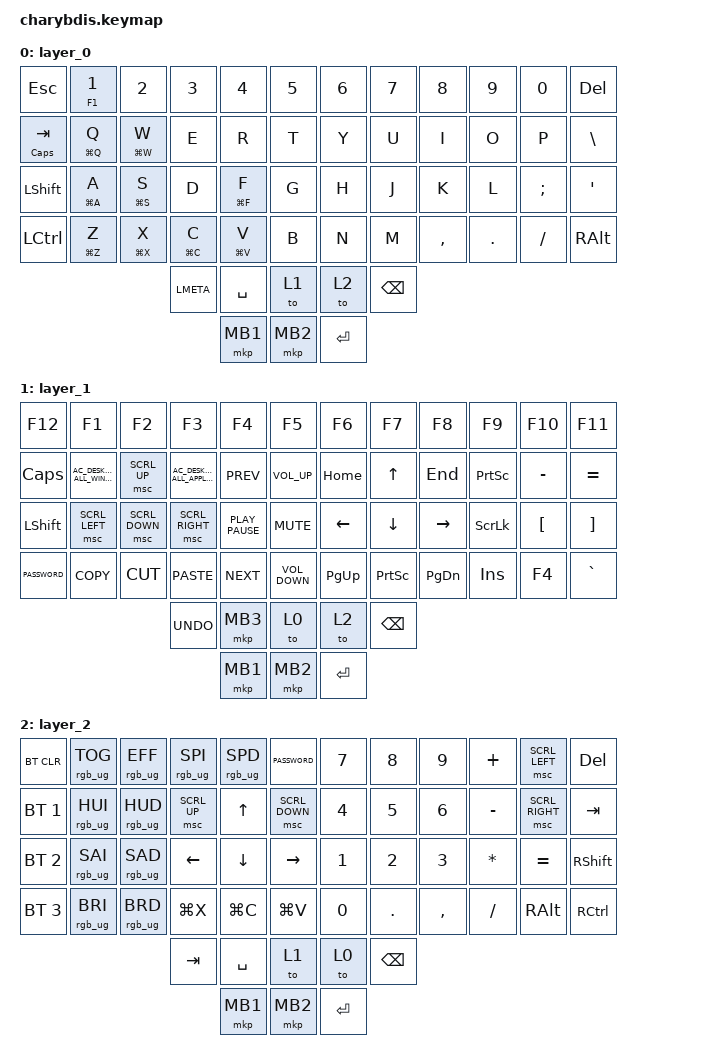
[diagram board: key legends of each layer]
#include <behaviors.dtsi>
#include <dt-bindings/zmk/bt.h>
#include <dt-bindings/zmk/keys.h>
#include <dt-bindings/zmk/pointing.h>
#include <dt-bindings/zmk/rgb.h>

&lt {
    tapping-term-ms = <200>;
    flavor = "balanced";
    quick-tap-ms = <150>;
};

/ {
    macros {
        To1_macro: To1_macro {
            compatible = "zmk,behavior-macro";
            label = "To1_macro";
            #binding-cells = <0>;
            bindings = <&rgb_ug RGB_EFF &rgb_ug RGB_COLOR_HSB(128,100,50) &to 0>;
        };

        To1_macro_A: To1_macro_A {
            compatible = "zmk,behavior-macro";
            label = "To1_macro_A";
            #binding-cells = <0>;
            bindings = <&rgb_ug RGB_COLOR_HSB(128,100,50) &to 0>;
        };

        To0_macro: To0_macro {
            compatible = "zmk,behavior-macro";
            label = "To0_macro";
            #binding-cells = <0>;
            bindings = <&rgb_ug RGB_EFR &to 0>;
        };

        To2_macro_A: To2_macro_A {
            compatible = "zmk,behavior-macro";
            label = "To2_macro_A";
            #binding-cells = <0>;
            bindings = <&rgb_ug RGB_COLOR_HSB(250,100,50) &to 0>;
        };

        To2_macro: To2_macro {
            compatible = "zmk,behavior-macro";
            label = "To2_macro";
            #binding-cells = <0>;
            bindings = <&rgb_ug RGB_EFF &rgb_ug RGB_COLOR_HSB(250,100,50) &to 0>;
        };

        PASSWORD: new_macro {
            compatible = "zmk,behavior-macro";
            #binding-cells = <0>;
            bindings = <&none &kp N8 &kp N5 &kp N0 &kp N6 &kp N0 &kp N4 &kp X &kp X &kp Z &kp J &kp J &kp S &kp S>;
            label = "NEW_MACRO";
        };
    };

    keymap {
        compatible = "zmk,keymap";

        layer_0 {
            bindings = <
&kp ESC         &mt F1 N1    &kp N2       &kp N3       &kp N4       &kp N5      &kp NUMBER_6  &kp N7         &kp N8     &kp N9   &kp N0    &kp DEL
&mt CAPS TAB    &mt LG(Q) Q  &mt LG(W) W  &kp E        &kp R        &kp T       &kp Y         &kp U          &kp I      &kp O    &kp P     &kp BSLH
&kp LEFT_SHIFT  &mt LG(A) A  &mt LG(S) S  &kp D        &mt LG(F) F  &kp G       &kp H         &kp J          &kp K      &kp L    &kp SEMI  &kp APOS
&kp LCTRL       &mt LG(Z) Z  &mt LG(X) X  &mt LG(C) C  &mt LG(V) V  &kp B       &kp N         &kp M          &kp COMMA  &kp DOT  &kp FSLH  &kp RALT
                                          &kp LMETA    &kp SPACE    &to 1       &to 2         &kp BACKSPACE
                                                       &mkp MB1     &mkp MB2    &kp ENTER
            >;
        };

        layer_1 {
            bindings = <
&kp F12    &kp F1                             &kp F2          &kp F3                                  &kp F4            &kp F5               &kp F6       &kp F7           &kp F8         &kp F9           &kp F10    &kp F11
&kp CAPS   &kp C_AC_DESKTOP_SHOW_ALL_WINDOWS  &msc SCRL_UP    &kp C_AC_DESKTOP_SHOW_ALL_APPLICATIONS  &kp K_PREV        &kp C_VOL_UP         &kp HOME     &kp UP_ARROW     &kp END        &kp PRINTSCREEN  &kp MINUS  &kp EQUAL
&kp LSHFT  &msc SCRL_LEFT                     &msc SCRL_DOWN  &msc SCRL_RIGHT                         &kp K_PLAY_PAUSE  &kp K_MUTE           &kp LEFT     &kp DOWN         &kp RIGHT      &kp SLCK         &kp LBKT   &kp RBKT
&PASSWORD  &kp K_COPY                         &kp K_CUT       &kp K_PASTE                             &kp K_NEXT        &kp C_VOLUME_DOWN    &kp PAGE_UP  &kp PRINTSCREEN  &kp PAGE_DOWN  &kp INS          &kp F4     &kp GRAVE
                                                              &kp K_UNDO                              &mkp MB3          &to 0                &to 2        &kp BSPC
                                                                                                      &mkp MB1          &mkp MB2             &kp ENTER
            >;
        };

        layer_2 {
            bindings = <
&bt BT_CLR    &rgb_ug RGB_TOG  &rgb_ug RGB_EFF  &rgb_ug RGB_SPI  &rgb_ug RGB_SPD  &PASSWORD         &kp N7     &kp N8         &kp N9     &kp PLUS   &msc SCRL_LEFT   &kp DELETE
&bt BT_SEL 1  &rgb_ug RGB_HUI  &rgb_ug RGB_HUD  &msc SCRL_UP     &kp UP_ARROW     &msc SCRL_DOWN    &kp N4     &kp N5         &kp N6     &kp MINUS  &msc SCRL_RIGHT  &kp TAB
&bt BT_SEL 2  &rgb_ug RGB_SAI  &rgb_ug RGB_SAD  &kp LEFT         &kp DOWN_ARROW   &kp RIGHT         &kp N1     &kp N2         &kp N3     &kp ASTRK  &kp EQUAL        &kp RSHFT
&bt BT_SEL 3  &rgb_ug RGB_BRI  &rgb_ug RGB_BRD  &kp LG(X)        &kp LG(C)        &kp LG(V)         &kp N0     &kp DOT        &kp COMMA  &kp FSLH   &kp RALT         &kp RCTRL
                                                &kp TAB          &kp SPACE        &to 1             &to 0      &kp BACKSPACE
                                                                 &mkp MB1         &mkp MB2          &kp ENTER
            >;
        };

        /* layer_3 {
            bindings = <
&none  &none   &none    &none   &none         &none         &kp N1         &none         &none     &none  &none   &to 0
&none  &none   &none    &none   &none         &none         &none         &none          &rgb_ug RGB_BRD &rgb_ug RGB_BRI  &rgb_ug RGB_EFF   &rgb_ug RGB_TOG
&none  &none   &none    &none   &none         &none         &none         &mkp LCLK     &mkp RCLK  &none  &none   &none
&none  &none   &none    &none   &bt BT_NXT  &bt BT_CLR    &none         &none         &none     &none  &none   &none
                                   &none         &none         &none         &none         &none
                                                 &none         &none         &none
            >;
       
            
        };

       Mouse {
            bindings = <
&none        &none         &none         &none         &none      &none         &none       &none      &none         &none         &none         &none
&none        &bt BT_SEL 0  &bt BT_SEL 1  &bt BT_SEL 3  &none      &bt BT_CLR    &bt BT_CLR  &none      &bt BT_SEL 2  &bt BT_SEL 1  &bt BT_SEL 0  &none
&none        &trans        &trans        &mkp MCLK     &trans     &none         &none       &trans     &mkp MCLK     &trans        &trans        &none
&bootloader  &trans        &mkp RCLK     &mo 4         &mkp LCLK  &mo 5         &mo 5       &mkp LCLK  &mo 4         &mkp RCLK     &trans        &bootloader
                                         &mo 5         &mkp LCLK  &mkp RCLK     &mkp RCLK   &mkp LCLK
                                                       &none      &trans        &trans
            >;

            
        };

        layer_4 {
            bindings = <
&trans  &trans  &trans     &trans     &trans     &trans       &trans     &trans     &trans     &trans     &trans  &trans
&trans  &trans  &trans     &trans     &trans     &trans       &trans     &trans     &trans     &trans     &trans  &trans
&trans  &trans  &trans     &mkp MCLK  &trans     &trans       &trans     &trans     &mkp MCLK  &trans     &trans  &trans
&trans  &trans  &mkp RCLK  &trans     &mkp LCLK  &trans       &trans     &mkp LCLK  &trans     &mkp RCLK  &trans  &trans
                           &trans     &mkp LCLK  &mkp RCLK    &mkp RCLK  &mkp LCLK
                                      &trans     &trans       &trans
            >;
                
                
               
        };

        layer_5 {
            bindings = <
&trans  &trans  &trans     &trans     &trans     &trans       &trans     &trans     &trans     &trans     &trans  &trans
&trans  &trans  &trans     &trans     &trans     &trans       &trans     &trans     &trans     &trans     &trans  &trans
&trans  &trans  &trans     &mkp MCLK  &trans     &trans       &trans     &trans     &mkp MCLK  &trans     &trans  &trans
&trans  &trans  &mkp RCLK  &trans     &mkp LCLK  &trans       &trans     &mkp LCLK  &trans     &mkp RCLK  &trans  &trans
                           &trans     &mkp LCLK  &mkp RCLK    &mkp RCLK  &mkp LCLK
                                      &trans     &trans       &trans
            >;
                
                
        };*/
    };
};
